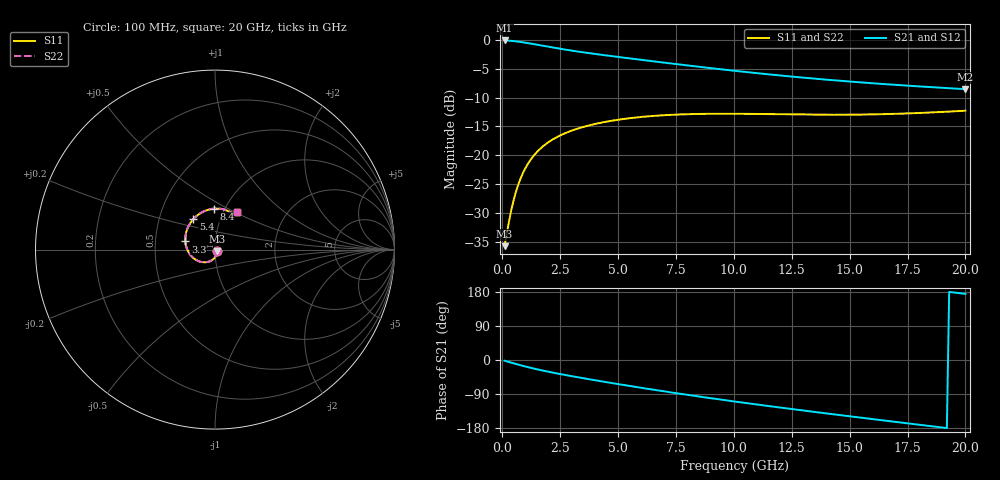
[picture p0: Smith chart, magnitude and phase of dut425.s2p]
! Touchstone file exported from HFSS 2024.1.0
!  File:  C:/UserFiles/LocalFiles/RDL_TSV_Batchsim/temp_RDL_TSV_425_1779718582.aedt
!  Generated:  10:29:53 PM May 25, 2026
!  Design:  RDL_TSV
!  Project:  temp_RDL_TSV_425_1779718582
!  Setup:  Setup1
!  Solution:  Sweep
! Variables:
!  dtsv = 14.65um
!  hbump = 3um
!  htsv = 95.68um
!  ldown = 422.38um
!  lrdl = 209.3um
!  p = 40
!  p1 = 42.46um
!  rhole = 10um
!  subl = 2104.34um
!  t = 450um
!  tdown = 2.3um
!  trdl = 3.29um
!  viad = 10um
!  wdown = 26.77um
!  wrdl = 13.45um
!  xbump = 18um
# GHz S MA R 50.000000
! Terminal data exported
! Port[1] = TM1_1_T1
! Port[2] = TM1_4_T1
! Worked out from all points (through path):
!   200 points, 100 MHz to 20 GHz, reference 50 ohm
!   highest |S21| = -0.13 dB at 100 MHz (marker M1); lowest = -8.6 dB at 20 GHz (marker M2)
!   group delay of S21, straight-line fit = 24.3 ps
!   lowest |S11| = -35.7 dB at 100 MHz (marker M3), VSWR 1.03, Z = 51.4 - j0.889 ohm
!   |S11| at or under -10 dB: start of sweep to end of sweep
!   |S22| runs from -35.7 to -12.2 dB; largest |S21 - S12| = 1.3e-14
!   S11 on the Smith chart (normalised r, x): 100 MHz: 1.03, -0.02; 3.3 GHz: 0.71, +0.07; 5.4 GHz: 0.74, +0.26; 8.4 GHz: 0.89, +0.43; 20 GHz: 1.15, +0.52
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0.1  0.01638 -31.8  0.9849 -1.9  0.9849 -1.9  0.01638 -31.8
! Gamma 0 0 0 0
! Port Impedance 50 0 50 0
0.3  0.0275 -69.2  0.98 -5.5  0.98 -5.5  0.0275 -69.2
0.5  0.04176 -88.4  0.9718 -9.0  0.9718 -9.0  0.04175 -88.4
0.6  0.04918 -95.7  0.9668 -10.7  0.9668 -10.7  0.04917 -95.7
0.8  0.06382 -108.1  0.9551 -14.0  0.9551 -14.0  0.06382 -108.1
1.1  0.08408 -123.8  0.9346 -18.7  0.9346 -18.7  0.0841 -123.8
1.5  0.1071 -141.2  0.9048 -24.5  0.9048 -24.5  0.1071 -141.3
2  0.1302 -159.3  0.868 -31.1  0.868 -31.1  0.1302 -159.4
2.6  0.1518 -177.6  0.828 -38.2  0.828 -38.2  0.152 -177.6
3.3  0.1713 164.6  0.7879 -46.0  0.7879 -46.0  0.1716 164.5
3.5  0.1761 160.1  0.7775 -48.1  0.7775 -48.1  0.1763 160.0
4.4  0.1938 141.9  0.735 -57.5  0.735 -57.5  0.1943 141.8
5.4  0.2082 125.4  0.693 -67.5  0.693 -67.5  0.2089 125.3
6.8  0.2211 107.1  0.64 -81.0  0.64 -81.0  0.222 107.0
8.4  0.2278 91.4  0.586 -95.5  0.586 -95.5  0.2288 91.3
10.1  0.2287 79.5  0.5364 -110.1  0.5364 -110.1  0.2299 79.4
11.7  0.2269 71.9  0.4969 -123.1  0.4969 -123.1  0.2281 71.8
13.4  0.2247 66.7  0.462 -136.4  0.462 -136.4  0.226 66.6
15  0.2246 63.8  0.4346 -148.5  0.4346 -148.5  0.2258 63.6
16.7  0.2276 62.0  0.4104 -161.2  0.4104 -161.2  0.2288 61.9
18.3  0.2337 61.0  0.3911 -173.1  0.3911 -173.1  0.2348 60.9
20  0.2431 60.0  0.3736 174.5  0.3736 174.5  0.2442 59.8
